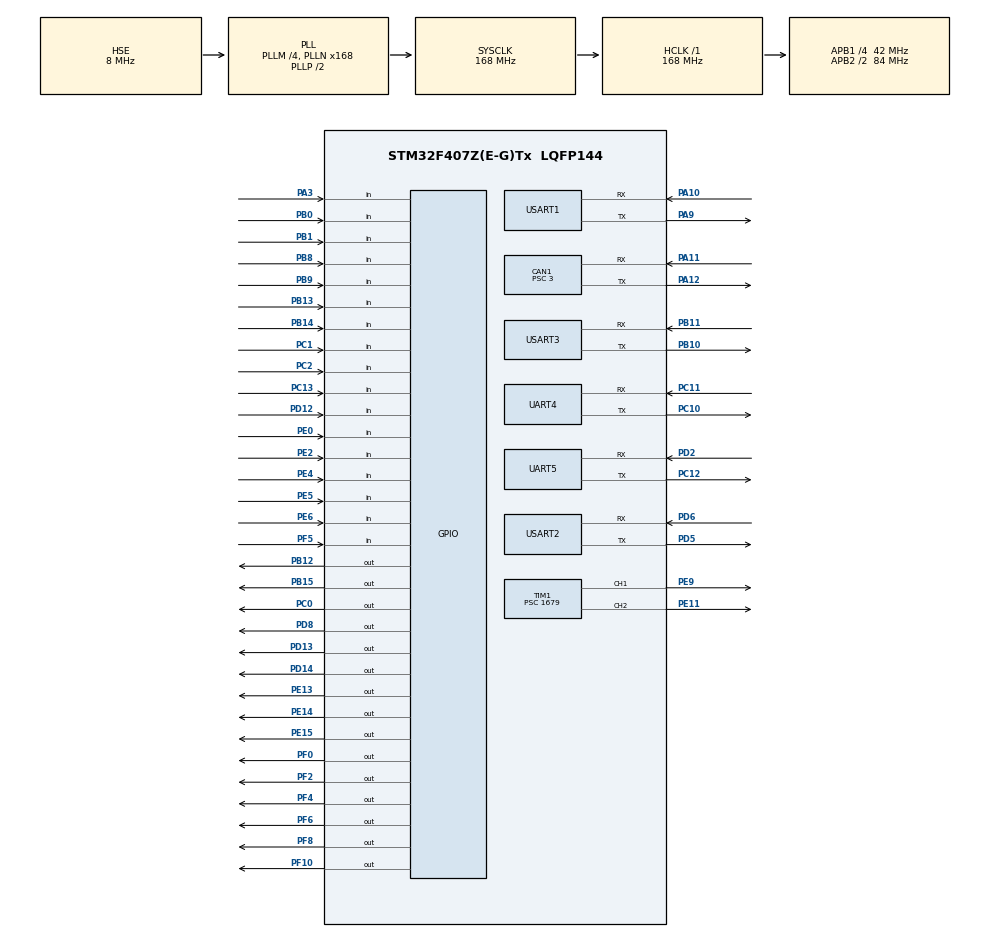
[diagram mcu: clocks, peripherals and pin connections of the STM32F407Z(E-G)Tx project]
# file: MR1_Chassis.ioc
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CAN1.ABOM=ENABLE
CAN1.BS1=CAN_BS1_9TQ
CAN1.BS2=CAN_BS2_4TQ
CAN1.CalculateTimeBit=1000
CAN1.CalculateTimeQuantum=71.42857142857143
CAN1.Prescaler=3
CAN1.TXFP=ENABLE
Dma.Request0=USART3_RX
Dma.Request1=USART3_TX
Dma.Request2=USART1_TX
Dma.Request3=USART1_RX
Dma.USART1_RX.3.Direction=DMA_PERIPH_TO_MEMORY
Dma.USART1_RX.3.FIFOMode=DMA_FIFOMODE_DISABLE
Dma.USART1_RX.3.Instance=DMA2_Stream2
Dma.USART1_RX.3.MemDataAlignment=DMA_MDATAALIGN_BYTE
Dma.USART1_RX.3.MemInc=DMA_MINC_ENABLE
Dma.USART1_RX.3.Mode=DMA_CIRCULAR
Dma.USART1_RX.3.PeriphDataAlignment=DMA_PDATAALIGN_BYTE
Dma.USART1_RX.3.PeriphInc=DMA_PINC_DISABLE
Dma.USART1_RX.3.Priority=DMA_PRIORITY_LOW
Dma.USART1_TX.2.Direction=DMA_MEMORY_TO_PERIPH
Dma.USART1_TX.2.FIFOMode=DMA_FIFOMODE_DISABLE
Dma.USART1_TX.2.Instance=DMA2_Stream7
Dma.USART1_TX.2.MemDataAlignment=DMA_MDATAALIGN_BYTE
Dma.USART1_TX.2.MemInc=DMA_MINC_ENABLE
Dma.USART1_TX.2.Mode=DMA_NORMAL
Dma.USART1_TX.2.PeriphDataAlignment=DMA_PDATAALIGN_BYTE
Dma.USART1_TX.2.PeriphInc=DMA_PINC_DISABLE
Dma.USART1_TX.2.Priority=DMA_PRIORITY_LOW
Dma.USART3_RX.0.Direction=DMA_PERIPH_TO_MEMORY
Dma.USART3_RX.0.FIFOMode=DMA_FIFOMODE_DISABLE
Dma.USART3_RX.0.Instance=DMA1_Stream1
Dma.USART3_RX.0.MemDataAlignment=DMA_MDATAALIGN_BYTE
Dma.USART3_RX.0.MemInc=DMA_MINC_ENABLE
Dma.USART3_RX.0.Mode=DMA_CIRCULAR
Dma.USART3_RX.0.PeriphDataAlignment=DMA_PDATAALIGN_BYTE
Dma.USART3_RX.0.PeriphInc=DMA_PINC_DISABLE
Dma.USART3_RX.0.Priority=DMA_PRIORITY_LOW
Dma.USART3_TX.1.Direction=DMA_MEMORY_TO_PERIPH
Dma.USART3_TX.1.FIFOMode=DMA_FIFOMODE_DISABLE
Dma.USART3_TX.1.Instance=DMA1_Stream3
Dma.USART3_TX.1.MemDataAlignment=DMA_MDATAALIGN_BYTE
Dma.USART3_TX.1.MemInc=DMA_MINC_ENABLE
Dma.USART3_TX.1.Mode=DMA_NORMAL
Dma.USART3_TX.1.PeriphDataAlignment=DMA_PDATAALIGN_BYTE
Dma.USART3_TX.1.PeriphInc=DMA_PINC_DISABLE
Dma.USART3_TX.1.Priority=DMA_PRIORITY_LOW
Mcu.Family=STM32F4
Mcu.Name=STM32F407Z(E-G)Tx
Mcu.Package=LQFP144
NVIC.CAN1_RX0_IRQn=true\:1\:0\:true\:true\:true\:1\:true
NVIC.DMA1_Stream1_IRQn=true\:0\:0\:false\:false\:true\:false
NVIC.DMA1_Stream3_IRQn=true\:0\:0\:false\:false\:true\:false
NVIC.DMA2_Stream2_IRQn=true\:0\:0\:false\:false\:true\:false
NVIC.DMA2_Stream7_IRQn=true\:0\:0\:false\:false\:true\:false
NVIC.PriorityGroup=NVIC_PRIORITYGROUP_4
NVIC.USART1_IRQn=true\:1\:0\:true\:true\:true\:2\:true
NVIC.USART2_IRQn=true\:1\:0\:true\:true\:true\:3\:true
NVIC.USART3_IRQn=true\:1\:0\:true\:true\:true\:4\:true
PA10.Mode=Asynchronous
PA10.Signal=USART1_RX
PA11.Mode=Master
PA11.Signal=CAN1_RX
PA12.Mode=Master
PA12.Signal=CAN1_TX
PA13.Mode=Serial_Wire
PA13.Signal=SYS_JTMS-SWDIO
PA14.Mode=Serial_Wire
PA14.Signal=SYS_JTCK-SWCLK
PA3.GPIO_PuPd=GPIO_PULLUP
PA3.Signal=GPIO_Input
PA9.Mode=Asynchronous
PA9.Signal=USART1_TX
PB0.GPIO_PuPd=GPIO_PULLUP
PB0.Signal=GPIO_Input
PB1.GPIO_PuPd=GPIO_PULLUP
PB1.Signal=GPIO_Input
PB10.Mode=Asynchronous
PB10.Signal=USART3_TX
PB11.Mode=Asynchronous
PB11.Signal=USART3_RX
PB12.GPIO_PuPd=GPIO_PULLDOWN
PB12.GPIO_Speed=GPIO_SPEED_FREQ_VERY_HIGH
PB12.PinState=GPIO_PIN_SET
PB12.Signal=GPIO_Output
PB13.GPIO_PuPd=GPIO_PULLDOWN
PB13.Signal=GPIO_Input
PB14.GPIO_PuPd=GPIO_PULLDOWN
PB14.Signal=GPIO_Input
PB15.GPIO_PuPd=GPIO_PULLDOWN
PB15.GPIO_Speed=GPIO_SPEED_FREQ_VERY_HIGH
PB15.PinState=GPIO_PIN_SET
PB15.Signal=GPIO_Output
PB8.GPIO_PuPd=GPIO_PULLDOWN
PB8.Signal=GPIO_Input
PB9.GPIO_PuPd=GPIO_PULLDOWN
PB9.Signal=GPIO_Input
PC0.GPIO_ModeDefaultOutputPP=GPIO_MODE_OUTPUT_PP
PC0.GPIO_PuPd=GPIO_PULLUP
PC0.GPIO_Speed=GPIO_SPEED_FREQ_HIGH
PC0.PinState=GPIO_PIN_SET
PC0.Signal=GPIO_Output
PC1.GPIO_PuPd=GPIO_PULLDOWN
PC1.Signal=GPIO_Input
PC10.Mode=Asynchronous
PC10.Signal=UART4_TX
PC11.Mode=Asynchronous
PC11.Signal=UART4_RX
PC12.Mode=Asynchronous
PC12.Signal=UART5_TX
PC13-ANTI_TAMP.GPIO_PuPd=GPIO_PULLDOWN
PC13-ANTI_TAMP.Signal=GPIO_Input
PC2.GPIO_PuPd=GPIO_PULLDOWN
PC2.Signal=GPIO_Input
PD12.Signal=GPIO_Input
PD13.GPIO_PuPd=GPIO_PULLUP
PD13.Signal=GPIO_Output
PD14.GPIO_PuPd=GPIO_PULLDOWN
PD14.Signal=GPIO_Output
PD2.Mode=Asynchronous
PD2.Signal=UART5_RX
PD5.Mode=Asynchronous
PD5.Signal=USART2_TX
PD6.Mode=Asynchronous
PD6.Signal=USART2_RX
PD8.Signal=GPIO_Output
PE0.GPIO_PuPd=GPIO_PULLDOWN
PE0.Signal=GPIO_Input
PE11.Signal=S_TIM1_CH2
PE13.GPIO_PuPd=GPIO_PULLDOWN
PE13.GPIO_Speed=GPIO_SPEED_FREQ_VERY_HIGH
PE13.PinState=GPIO_PIN_SET
PE13.Signal=GPIO_Output
PE14.GPIO_PuPd=GPIO_PULLDOWN
PE14.GPIO_Speed=GPIO_SPEED_FREQ_VERY_HIGH
PE14.PinState=GPIO_PIN_SET
PE14.Signal=GPIO_Output
PE15.GPIO_PuPd=GPIO_PULLDOWN
PE15.GPIO_Speed=GPIO_SPEED_FREQ_VERY_HIGH
PE15.PinState=GPIO_PIN_SET
PE15.Signal=GPIO_Output
PE2.GPIO_PuPd=GPIO_PULLDOWN
PE2.Signal=GPIO_Input
PE4.GPIO_PuPd=GPIO_PULLDOWN
PE4.Signal=GPIO_Input
PE5.GPIO_PuPd=GPIO_PULLUP
PE5.Signal=GPIO_Input
PE6.GPIO_PuPd=GPIO_PULLDOWN
PE6.Signal=GPIO_Input
PE9.Signal=S_TIM1_CH1
PF0.GPIO_PuPd=GPIO_PULLDOWN
PF0.GPIO_Speed=GPIO_SPEED_FREQ_HIGH
PF0.Signal=GPIO_Output
PF10.GPIO_PuPd=GPIO_PULLDOWN
PF10.GPIO_Speed=GPIO_SPEED_FREQ_HIGH
PF10.Signal=GPIO_Output
PF2.GPIO_PuPd=GPIO_PULLDOWN
PF2.GPIO_Speed=GPIO_SPEED_FREQ_HIGH
PF2.Signal=GPIO_Output
PF4.GPIO_PuPd=GPIO_PULLDOWN
PF4.GPIO_Speed=GPIO_SPEED_FREQ_HIGH
PF4.Signal=GPIO_Output
PF5.GPIO_PuPd=GPIO_PULLUP
PF5.Signal=GPIO_Input
PF6.GPIO_PuPd=GPIO_PULLDOWN
PF6.GPIO_Speed=GPIO_SPEED_FREQ_HIGH
PF6.Signal=GPIO_Output
PF8.GPIO_PuPd=GPIO_PULLDOWN
PF8.GPIO_Speed=GPIO_SPEED_FREQ_HIGH
PF8.Signal=GPIO_Output
PH0-OSC_IN.Mode=HSE-External-Oscillator
PH0-OSC_IN.Signal=RCC_OSC_IN
PH1-OSC_OUT.Mode=HSE-External-Oscillator
PH1-OSC_OUT.Signal=RCC_OSC_OUT
ProjectManager.HeapSize=0x600
ProjectManager.StackSize=0x1200
ProjectManager.TargetToolchain=EWARM V7
RCC.48MHZClocksFreq_Value=84000000
RCC.AHBFreq_Value=168000000
RCC.APB1CLKDivider=RCC_HCLK_DIV4
RCC.APB1Freq_Value=42000000
RCC.APB1TimFreq_Value=84000000
RCC.APB2CLKDivider=RCC_HCLK_DIV2
RCC.APB2Freq_Value=84000000
RCC.APB2TimFreq_Value=168000000
RCC.CortexFreq_Value=168000000
RCC.HCLKFreq_Value=168000000
RCC.HSE_VALUE=8000000
RCC.HSI_VALUE=16000000
RCC.LSE_VALUE=32768
RCC.PLLM=4
RCC.PLLN=168
RCC.PLLSourceVirtual=RCC_PLLSOURCE_HSE
RCC.SYSCLKFreq_VALUE=168000000
RCC.SYSCLKSource=RCC_SYSCLKSOURCE_PLLCLK
RCC.VCOOutputFreq_Value=336000000
SH.S_TIM1_CH1.0=TIM1_CH1,PWM Generation1 CH1
SH.S_TIM1_CH2.0=TIM1_CH2,PWM Generation2 CH2
TIM1.Channel-PWM\ Generation1\ CH1=TIM_CHANNEL_1
TIM1.Channel-PWM\ Generation2\ CH2=TIM_CHANNEL_2
TIM1.Period=1999
TIM1.Prescaler=1679
TIM1.Pulse-PWM\ Generation1\ CH1=0
TIM1.Pulse-PWM\ Generation2\ CH2=0
TIM3.Period=9999
TIM3.Prescaler=71
UART4.VirtualMode=Asynchronous
UART5.VirtualMode=Asynchronous
USART1.VirtualMode=VM_ASYNC
USART2.VirtualMode=VM_ASYNC
USART3.VirtualMode=VM_ASYNC
VP_TIM3_VS_ClockSourceINT.Mode=Internal
board=MR1_Chassis

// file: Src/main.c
/**
  ******************************************************************************
  * @file           : main.c
  * @brief          : Main program body
  ******************************************************************************
  ** This notice applies to any and all portions of this file
  * that are not between comment pairs USER CODE BEGIN and
  * USER CODE END. Other portions of this file, whether
  * inserted by the user or by software development tools
  * are owned by their respective copyright owners.
  *
  * COPYRIGHT(c) 2019 STMicroelectronics
  *
  * Redistribution and use in source and binary forms, with or without modification,
  * are permitted provided that the following conditions are met:
  *   1. Redistributions of source code must retain the above copyright notice,
  *      this list of conditions and the following disclaimer.
  *   2. Redistributions in binary form must reproduce the above copyright notice,
  *      this list of conditions and the following disclaimer in the documentation
  *      and/or other materials provided with the distribution.
  *   3. Neither the name of STMicroelectronics nor the names of its contributors
  *      may be used to endorse or promote products derived from this software
  *      without specific prior written permission.
  *
  * THIS SOFTWARE IS PROVIDED BY THE COPYRIGHT HOLDERS AND CONTRIBUTORS "AS IS"
  * AND ANY EXPRESS OR IMPLIED WARRANTIES, INCLUDING, BUT NOT LIMITED TO, THE
  * IMPLIED WARRANTIES OF MERCHANTABILITY AND FITNESS FOR A PARTICULAR PURPOSE ARE
  * DISCLAIMED. IN NO EVENT SHALL THE COPYRIGHT HOLDER OR CONTRIBUTORS BE LIABLE
  * FOR ANY DIRECT, INDIRECT, INCIDENTAL, SPECIAL, EXEMPLARY, OR CONSEQUENTIAL
  * DAMAGES (INCLUDING, BUT NOT LIMITED TO, PROCUREMENT OF SUBSTITUTE GOODS OR
  * SERVICES; LOSS OF USE, DATA, OR PROFITS; OR BUSINESS INTERRUPTION) HOWEVER
  * CAUSED AND ON ANY THEORY OF LIABILITY, WHETHER IN CONTRACT, STRICT LIABILITY,
  * OR TORT (INCLUDING NEGLIGENCE OR OTHERWISE) ARISING IN ANY WAY OUT OF THE USE
  * OF THIS SOFTWARE, EVEN IF ADVISED OF THE POSSIBILITY OF SUCH DAMAGE.
  *
  ******************************************************************************
  */
#include "main.h"
#include "stm32f4xx_hal.h"
#include "can.h"
#include "dma.h"
#include "tim.h"
#include "usart.h"
#include "gpio.h"
#include "point_zx.h"

/* USER CODE BEGIN Includes */
#include "vec.h"
#include "cmd.h"
#include "cmd_func.h"
#include "vega_action.h"
#include "vavle.h"
#include "ccd.h"
#include "stmflash.h"
#include "valuepack.h"
/* USER CODE END Includes */

/* USER CODE BEGIN PV */
int main_flag = 0;
int chassis_flag = 0;
int ccd_ctrl_flag = 0;
int send_flag = 0;
/* Private variables ---------------------------------------------------------*/

/* USER CODE END PV */

void SystemClock_Config(void);
static void MX_NVIC_Init(void);

/* USER CODE BEGIN PFP */
/* Private function prototypes -----------------------------------------------*/

/* USER CODE END PFP */

int main(void)
{

  /* MCU Configuration----------------------------------------------------------*/

  /* Reset of all peripherals, Initializes the Flash interface and the Systick. */
  HAL_Init();

  /* Configure the system clock */
  SystemClock_Config();

  /* Initialize all configured peripherals */
  MX_GPIO_Init();
  MX_DMA_Init();
  MX_CAN1_Init();
  MX_USART1_UART_Init();
  MX_USART2_UART_Init();
  MX_USART3_UART_Init();
  MX_UART5_Init();
  MX_UART4_Init();
  MX_TIM3_Init();
  MX_TIM1_Init();

  /* Initialize interrupts */
  MX_NVIC_Init();
  /* USER CODE BEGIN 2 */
    usart_DMA_init();
    cmd_init();
    can_init();
    PID_init();
    chassis_init();
    htim_init();
    main_flag = 1;

    unsigned char bluetooth_package[16];

  /* USER CODE END 2 */

  /* Infinite loop */
    while (1)
    {

  /* USER CODE BEGIN 3 */
        usart_exc_DMA();
        gpio_exc();
        if(chassis_flag == 1)
        {
            //chassis_exe();  此2行为代码中原有的
            chassis_flag = 0;
            chassis_update();

            startValuePack(bluetooth_package);
            putFloat(chassis.pos_x);
            putFloat(chassis.pos_y);
            putFloat(chassis.angle);
            sendBuffer( bluetooth_package , endValuePack() );

            if(ENBALE_POINT_COLLECTION_TRACER == 1){
            point_collection_tracer(3);
            }
            if(go_to_point_test_flag ==1){
            go_to_point_for_test(go_to_point_x , go_to_point_y);
            }

            if(ENBALE_POINT_COLLECTION_TRACER ==0 && go_to_point_test_flag == 0)
            chassis_gostraight_zx(0,0,0,0);

            // if(total_line_control_flag == 1){
            //   line_control(start_point_x,start_point_y,line_control_p_x,line_control_p_y,700);
            // }else {
            //   chassis_gostraight(0,0,chassis.angle,0);
            // }

            //  point_tracer( start_point_x , start_point_y ,point_x , point_y , start_speed , final_speed , max_speed);
            //  if(point_tracer_flag == 0){
            //    chassis_gostraight(0,0,chassis.angle,0);
            //  }

            // uprintf(CMD_USART,"x = %f y = %f\r\n",chassis.pos_x,chassis.pos_y);
            // send_wave(chassis.angle,0.0,chassis.pos_x,chassis.pos_y);
        }
    }
  /* USER CODE END 3 */
}

void SystemClock_Config(void)
{

  RCC_OscInitTypeDef RCC_OscInitStruct;
  RCC_ClkInitTypeDef RCC_ClkInitStruct;

    /**Configure the main internal regulator output voltage
    */
  __HAL_RCC_PWR_CLK_ENABLE();

  __HAL_PWR_VOLTAGESCALING_CONFIG(PWR_REGULATOR_VOLTAGE_SCALE1);

    /**Initializes the CPU, AHB and APB busses clocks
    */
  RCC_OscInitStruct.OscillatorType = RCC_OSCILLATORTYPE_HSE;
  RCC_OscInitStruct.HSEState = RCC_HSE_ON;
  RCC_OscInitStruct.PLL.PLLState = RCC_PLL_ON;
  RCC_OscInitStruct.PLL.PLLSource = RCC_PLLSOURCE_HSE;
  RCC_OscInitStruct.PLL.PLLM = 4;
  RCC_OscInitStruct.PLL.PLLN = 168;
  RCC_OscInitStruct.PLL.PLLP = RCC_PLLP_DIV2;
  RCC_OscInitStruct.PLL.PLLQ = 4;
  if (HAL_RCC_OscConfig(&RCC_OscInitStruct) != HAL_OK)
  {
    _Error_Handler(__FILE__, __LINE__);
  }

    /**Initializes the CPU, AHB and APB busses clocks
    */
  RCC_ClkInitStruct.ClockType = RCC_CLOCKTYPE_HCLK|RCC_CLOCKTYPE_SYSCLK
                              |RCC_CLOCKTYPE_PCLK1|RCC_CLOCKTYPE_PCLK2;
  RCC_ClkInitStruct.SYSCLKSource = RCC_SYSCLKSOURCE_PLLCLK;
  RCC_ClkInitStruct.AHBCLKDivider = RCC_SYSCLK_DIV1;
  RCC_ClkInitStruct.APB1CLKDivider = RCC_HCLK_DIV4;
  RCC_ClkInitStruct.APB2CLKDivider = RCC_HCLK_DIV2;

  if (HAL_RCC_ClockConfig(&RCC_ClkInitStruct, FLASH_LATENCY_5) != HAL_OK)
  {
    _Error_Handler(__FILE__, __LINE__);
  }

  //以下为后添加的代码，开启滴答计时器
    /**Configure the Systick interrupt time
    */
  HAL_SYSTICK_Config(HAL_RCC_GetHCLKFreq()/1000);

    /**Configure the Systick
    */
  HAL_SYSTICK_CLKSourceConfig(SYSTICK_CLKSOURCE_HCLK);

  /* SysTick_IRQn interrupt configuration */
  HAL_NVIC_SetPriority(SysTick_IRQn, 0, 0);
}

/**
  * @brief NVIC Configuration.
  * @retval None
  */
static void MX_NVIC_Init(void)
{
  /* CAN1_RX0_IRQn interrupt configuration */
  HAL_NVIC_SetPriority(CAN1_RX0_IRQn, 1, 0);
  HAL_NVIC_EnableIRQ(CAN1_RX0_IRQn);
  /* USART1_IRQn interrupt configuration */
  HAL_NVIC_SetPriority(USART1_IRQn, 1, 0);
  HAL_NVIC_EnableIRQ(USART1_IRQn);
  /* USART2_IRQn interrupt configuration */
  HAL_NVIC_SetPriority(USART2_IRQn, 1, 0);
  HAL_NVIC_EnableIRQ(USART2_IRQn);
  /* USART3_IRQn interrupt configuration */
  HAL_NVIC_SetPriority(USART3_IRQn, 1, 0);
  HAL_NVIC_EnableIRQ(USART3_IRQn);
}

/* USER CODE BEGIN 4 */
void HAL_SYSTICK_Callback(void){
    static int time_1ms_cnt = 0;
    static int delay_time_cnt = 0;
    time_1ms_cnt++;
    if(main_flag == 1)
    {
        if(time_1ms_cnt % 12000 == 0 && ChassisSignal.m_CtrlFlag._vega_ready_flag == 0)
        {
            ///vega_action_init();
            ChassisSignal.m_CtrlFlag._vega_ready_flag = 1;
            uprintf(CMD_USART,"ok\r\n");
        }

        if(time_1ms_cnt % 5 == 0)
        {
            robomaster_flag = 1;
        }

        if(time_1ms_cnt % 100 == 0)
        {
            send_flag = 1;
        }

        if(ChassisSignal.m_CtrlFlag._routeflag == 0)
        {
            if(time_1ms_cnt % 5 == 0)
            {
                chassis_flag = 1;
            }
        }
        else
        {
            if(time_1ms_cnt % 5 == 0)
            {
                chassis_flag = 1;
            }
        }

        if(delay_num_const > 0)
        {
            delay_time_cnt++;
            if(delay_time_cnt > delay_num_const)
            {
                delay_time_cnt = 0;
                delay_num_const = 0;
                ChassisSignal.m_FinishFlag._delay_flag = 1;
            }
        }

        if(time_1ms_cnt % 500 == 0&&ChassisSignal.m_CtrlFlag._vega_ready_flag == 1)
        {
            HAL_GPIO_TogglePin(GPIOA, GPIO_PIN_0);
        }
        if(time_1ms_cnt >= 65533)
        {
            time_1ms_cnt = 0;
        }
    }
}
/* USER CODE END 4 */

void _Error_Handler(char *file, int line)
{
    while(1)
    {
    }
}

/************************ (C) COPYRIGHT STMicroelectronics *****END OF FILE****/
